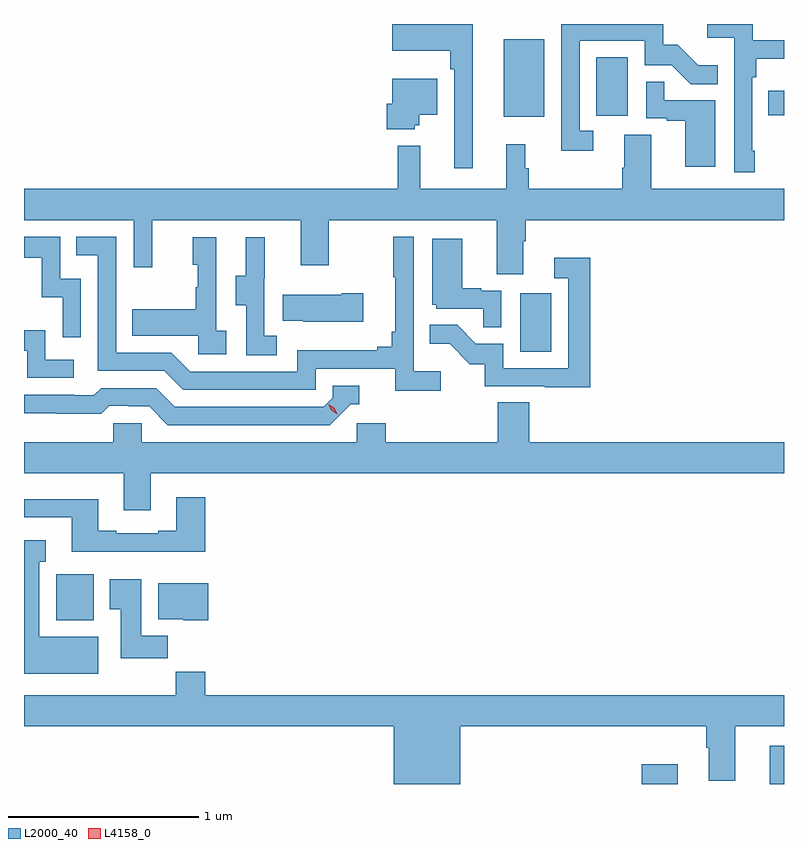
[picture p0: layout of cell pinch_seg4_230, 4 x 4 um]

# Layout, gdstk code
import gdstk
lib = gdstk.Library(unit=1e-6, precision=1e-09)
def R(c, l, rs):  # rectangles x0, y0, x1, y1
    for r in rs: c.add(gdstk.rectangle(r[:2], r[2:], *l))
def P(c, l, *ps):  # polygons
    for p in ps: c.add(gdstk.Polygon(p, *l))
L2000_40 = (2000, 40)
L4158_0 = (4158, 0)

pinch_seg4_230 = lib.new_cell('pinch_seg4_230')
R(pinch_seg4_230, L2000_40, [(900.823,811.168,901.012,811.273), (901.496,811.168,901.571,811.369), (897.74,812.03,897.937,812.272), (900.182,813.444,900.346,813.751), (900.095,814.679,900.31,815.089), (900.584,814.686,900.748,814.993), (901.489,814.687,901.571,814.816)])
P(pinch_seg4_230, L2000_40, [(899.932,815.168),(899.508,815.168),(899.508,815.027),(899.815,815.027),(899.815,814.931),(899.835,814.931),(899.835,814.41),(899.932,814.41)],
  [(900.568,814.605),(900.495,814.605),(900.495,815.079),(900.837,815.079),(900.837,814.95),(900.981,814.95),(901.079,814.852),(901.223,814.852),(901.223,814.951),(901.119,814.951),(901.012,815.058),(900.936,815.058),(900.936,815.168),(900.399,815.168),(900.399,814.5),(900.568,814.5)],
  [(901.417,814.501),(901.404,814.501),(901.404,814.889),(901.424,814.889),(901.424,814.985),(901.571,814.985),(901.571,815.082),(901.406,815.082),(901.406,815.168),(901.167,815.168),(901.167,815.096),(901.308,815.096),(901.308,814.389),(901.417,814.389)],
  [(899.628,814.635),(899.65,814.635),(899.65,814.691),(899.746,814.691),(899.746,814.879),(899.51,814.879),(899.51,814.749),(899.48,814.749),(899.48,814.613),(899.628,814.613)],
  [(901.21,814.767),(900.941,814.767),(900.941,814.865),(900.846,814.865),(900.846,814.671),(900.953,814.671),(900.953,814.659),(901.052,814.659),(901.052,814.416),(901.21,814.416)],
  [(900.199,814.024),(900.212,814.024),(900.212,814.136),(901.571,814.136),(901.571,814.3),(900.871,814.3),(900.871,814.586),(900.731,814.586),(900.731,814.412),(900.719,814.412),(900.719,814.3),(900.227,814.3),(900.227,814.409),(900.209,814.409),(900.209,814.534),(900.11,814.534),(900.11,814.3),(899.657,814.3),(899.657,814.528),(899.539,814.528),(899.539,814.3),(897.571,814.3),(897.571,814.136),(898.149,814.136),(898.149,813.888),(898.247,813.888),(898.247,814.136),(899.027,814.136),(899.027,813.897),(899.175,813.897),(899.175,814.136),(900.059,814.136),(900.059,813.85),(900.199,813.85)],
  [(899.764,813.34),(899.622,813.34),(899.622,814.048),(899.514,814.048),(899.514,813.835),(899.525,813.835),(899.525,813.547),(899.506,813.547),(899.506,813.47),(899.429,813.47),(899.429,813.451),(899.01,813.451),(899.01,813.339),(898.446,813.339),(898.347,813.438),(898.056,813.438),(898.056,814.047),(897.847,814.047),(897.847,813.951),(897.96,813.951),(897.96,813.342),(898.31,813.342),(898.409,813.243),(899.106,813.243),(899.106,813.354),(899.525,813.354),(899.525,813.238),(899.764,813.238)],
  [(897.87,813.828),(897.762,813.828),(897.762,814.047),(897.571,814.047),(897.571,813.939),(897.665,813.939),(897.665,813.731),(897.774,813.731),(897.774,813.519),(897.87,813.519)],
  [(898.9,813.527),(898.836,813.527),(898.836,813.831),(898.838,813.831),(898.838,814.045),(898.739,814.045),(898.739,813.843),(898.685,813.843),(898.685,813.688),(898.74,813.688),(898.74,813.424),(898.9,813.424)],
  [(898.636,813.554),(898.584,813.554),(898.584,814.045),(898.46,814.045),(898.46,813.9),(898.486,813.9),(898.486,813.782),(898.476,813.782),(898.476,813.667),(898.141,813.667),(898.141,813.527),(898.488,813.527),(898.488,813.429),(898.636,813.429)],
  [(900.084,813.765),(899.978,813.765),(899.978,813.778),(899.878,813.778),(899.878,814.039),(899.72,814.039),(899.72,813.69),(899.742,813.69),(899.742,813.669),(899.989,813.669),(899.989,813.571),(900.084,813.571)],
  [(900.551,813.937),(900.363,813.937),(900.363,813.831),(900.435,813.831),(900.435,813.357),(900.093,813.357),(900.093,813.486),(899.949,813.486),(899.851,813.584),(899.707,813.584),(899.707,813.485),(899.811,813.485),(899.918,813.378),(899.995,813.378),(899.995,813.261),(900.313,813.261),(900.313,813.256),(900.551,813.256)],
  [(899.356,813.75),(899.243,813.75),(899.243,813.742),(898.933,813.742),(898.933,813.605),(899.041,813.605),(899.041,813.602),(899.356,813.602)],
  [(897.832,813.402),(897.684,813.402),(897.684,813.556),(897.571,813.556),(897.571,813.447),(897.588,813.447),(897.588,813.306),(897.832,813.306)],
  [(899.292,813.168),(899.335,813.168),(899.335,813.264),(899.196,813.264),(899.196,813.201),(899.148,813.153),(898.365,813.153),(898.266,813.252),(897.977,813.252),(897.938,813.213),(897.839,813.213),(897.839,813.216),(897.571,813.216),(897.571,813.119),(897.744,813.119),(897.744,813.117),(897.977,813.117),(898.019,813.159),(898.122,813.159),(898.122,813.156),(898.229,813.156),(898.328,813.057),(899.181,813.057)],
  [(898.237,812.804),(901.571,812.804),(901.571,812.968),(900.23,812.968),(900.23,813.176),(900.065,813.176),(900.065,812.968),(899.474,812.968),(899.474,813.066),(899.322,813.066),(899.322,812.968),(898.191,812.968),(898.191,813.066),(898.041,813.066),(898.041,812.968),(897.571,812.968),(897.571,812.804),(898.097,812.804),(898.097,812.61),(898.237,812.61)],
  [(898.526,812.677),(898.373,812.677),(898.373,812.5),(898.277,812.5),(898.277,812.487),(898.057,812.487),(898.057,812.5),(897.961,812.5),(897.961,812.668),(897.571,812.668),(897.571,812.571),(897.821,812.571),(897.821,812.39),(898.526,812.39)],
  [(897.961,811.942),(897.652,811.942),(897.652,812.339),(897.685,812.339),(897.685,812.452),(897.571,812.452),(897.571,811.748),(897.961,811.748)],
  [(898.328,811.948),(898.189,811.948),(898.189,812.245),(898.022,812.245),(898.022,812.089),(898.079,812.089),(898.079,811.83),(898.328,811.83)],
  [(898.541,812.224),(898.277,812.224),(898.277,812.036),(898.41,812.036),(898.41,812.03),(898.541,812.03)],
  [(899.866,811.472),(901.163,811.472),(901.163,811.36),(901.175,811.36),(901.175,811.186),(901.315,811.186),(901.315,811.472),(901.571,811.472),(901.571,811.636),(898.526,811.636),(898.526,811.76),(898.369,811.76),(898.369,811.636),(897.571,811.636),(897.571,811.472),(899.516,811.472),(899.516,811.168),(899.866,811.168)])
P(pinch_seg4_230, L4158_0, [(899.219,813.115),(899.188,813.134),(899.172,813.167),(899.172,813.167),(899.172,813.167),(899.203,813.148),(899.219,813.115),(899.219,813.115)])

lib.write_gds('pinch_seg4_230.gds')
